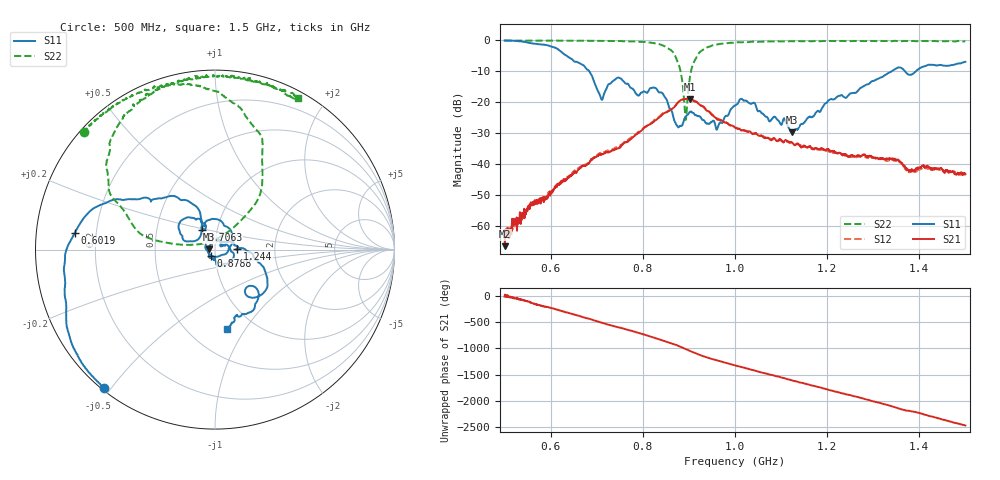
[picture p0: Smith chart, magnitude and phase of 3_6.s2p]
!Agilent Technologies,E8364B,US42250235,A.06.04.32
!Agilent E8364B: A.06.04.32
!Date: Friday, January 15, 2021 12:50:03
!Correction: S11(Full 2 Port(1,2)) S21(Full 2 Port(1,2)) S12(Full 2 Port(1,2)) S22(Full 2 Port(1,2))
!S2P File: Measurements: S11, S21, S12, S22:
# Hz S  dB  R 50
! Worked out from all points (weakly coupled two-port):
!   1601 points, 500 MHz to 1.5 GHz, reference 50 ohm
!   highest |S21| = -19.03 dB at 903.1 MHz (marker M1); lowest = -66.6 dB at 500.6 MHz (marker M2)
!   lowest |S11| = -29.7 dB at 1.124 GHz (marker M3), VSWR 1.07, Z = 46.8 + j0.0917 ohm
!   |S11| at or under -10 dB: 683.5 MHz to 1.341 GHz (657.3 MHz wide, 64.9 % of centre); 1.369 GHz to 1.393 GHz (24.54 MHz wide, 1.78 % of centre)
!   |S22| runs from -25.8 to -0.1 dB; largest |S21 - S12| = 0.013
!   S11 on the Smith chart (normalised r, x): 500 MHz: 0.01, -0.48; 601.9 MHz: 0.12, +0.06; 706.2 MHz: 0.84, +0.19; 878.8 MHz: 0.96, -0.06; 1.244 GHz: 1.28, +0.02; 1.5 GHz: 0.75, -0.83
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5e8  -0.11 -128.9  -63.10 -9.2  -61.06 22.2  -0.15 138.1
5.00625e8  -0.11 -129.1  -66.60 28.8  -62.01 22.6  -0.15 138.1
5.4625e8  -0.65 -152.9  -56.29 -91.6  -55.71 -79.0  -0.17 134.0
6.01875e8  -2.08 173.3  -49.60 132.3  -48.90 134.2  -0.19 128.9
6.66875e8  -7.77 135.2  -41.03 -33.2  -40.75 -26.6  -0.18 121.6
7.0625e8  -17.59 124.7  -36.85 -137.1  -36.70 -130.3  -0.25 117.0
7.46875e8  -12.09 140.8  -34.92 123.3  -34.59 128.4  -0.29 110.3
7.8875e8  -17.81 114.2  -30.15 21.7  -29.80 26.8  -0.50 103.5
8.3375e8  -16.74 70.4  -25.21 -100.3  -24.96 -95.2  -1.20 87.8
8.7875e8  -27.99 -122.9  -19.83 123.1  -19.71 129.2  -8.31 50.1
8.925e8  -24.86 157.1  -19.04 69.2  -19.01 75.1  -25.39 94.8
9.03125e8  -23.10 115.0  -19.03 29.8  -19.00 35.7  -11.15 171.8
9.23125e8  -24.63 57.8  -20.88 -41.7  -20.67 -34.9  -3.94 153.3
9.61875e8  -28.51 40.9  -25.69 -150.5  -25.33 -143.8  -1.38 131.9
1e9  -21.13 -3.9  -28.29 115.9  -28.08 123.0  -0.76 119.9
1.04e9  -20.26 -68.0  -30.32 25.5  -30.23 30.4  -0.48 113.8
1.12375e9  -29.73 178.3  -33.04 -170.9  -33.26 -163.1  -0.33 102.2
1.166875e9  -24.83 45.7  -35.02 91.7  -34.96 100.2  -0.36 97.2
1.24375e9  -18.26 2.8  -37.37 -81.9  -37.50 -73.5  -0.32 89.2
1.33375e9  -10.54 -21.7  -38.26 73.6  -38.84 79.0  -0.29 80.5
1.378125e9  -11.23 -50.5  -42.18 -30.0  -42.47 -24.0  -0.30 75.8
1.5e9  -7.01 -81.6  -43.31 49.9  -43.64 54.6  -0.33 61.2
